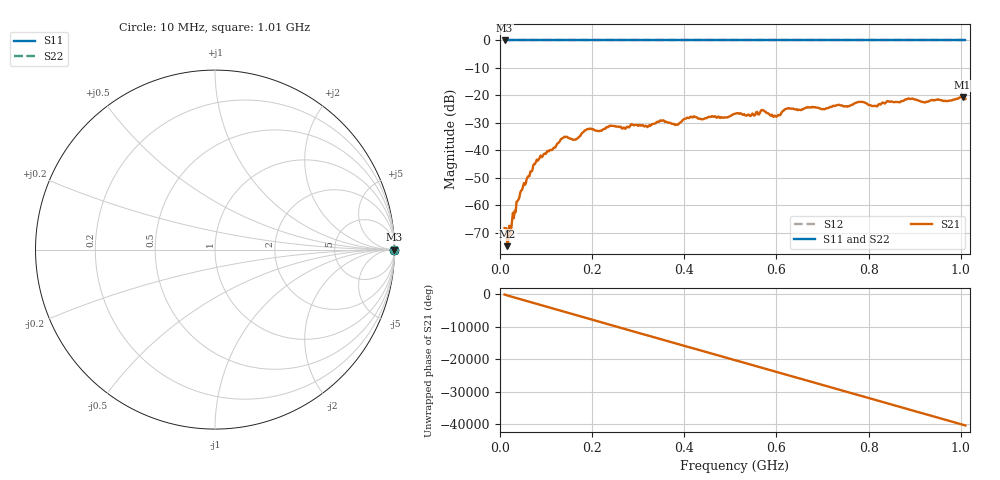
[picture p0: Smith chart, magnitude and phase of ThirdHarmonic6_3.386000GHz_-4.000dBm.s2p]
! 8/17/2025 10:46:35 AM
! C:\ANRITSUVNA\TEMP\TEMP.S2P
! CHANNEL.1
! TR.MEASUREMENT
! RAW.DATA
! RF.CORRECTION.OFF
! AVERAGING.OFF
! IF.BANDWIDTH: 5KHZ
! SWEEPTYPE:  FREQ.SWEEP(Linear)
! Reference Plane Port Info
! PORT:  PORT1  PORT2
! DISTANCE:  0  m  0  m
! TIME:  0  s  0  s
! PHASE.OFFSET:  0  deg.  0  deg.
! LOSS:  0  dB  0  dB
! REF.LOSS:  0  dB  0  dB
! REF.FREQ:  0  Hz  0  Hz
! Power Info
! POWER:  -20  dBm  -20  dBm
! EFF.POWER:  -20  dBm  -20  dBm
! SOURCE.ATTEN:  0  dB  0  dB
! TEST.ATTEN:  0  dB  0  dB
# GHZ S RI R 50.0
! FREQ.GHZ  S11RE  S11IM  S21RE  S21IM  S12RE  S12IM  S22RE  S22IM
!; PortSelection: Port_12
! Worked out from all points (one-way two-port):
!   501 points, 10 MHz to 1.01 GHz, reference 50 ohm
!   highest |S21| = -20.70 dB at 1.004 GHz (marker M1); lowest = -75.0 dB at 16 MHz (marker M2)
!   lowest |S11| = 0.0 dB at 10 MHz (marker M3)
!   |S11| at or under -10 dB: nowhere
!   |S22| runs from 0.0 to 0.0 dB; largest |S21 - S12| = 1.1
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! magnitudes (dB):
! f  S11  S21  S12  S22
! 10 MHz  0.0  -68.4  0.0  0.0
! 16 MHz  0.0  -75.0  0.0  0.0
! 20 MHz  0.0  -67.5  0.0  0.0
! 32 MHz  0.0  -62.1  0.0  0.0
! 48 MHz  0.0  -54.4  0.0  0.0
! 76 MHz  0.0  -45.0  0.0  0.0
! 136 MHz  0.0  -35.6  0.0  0.0
! 162 MHz  0.0  -36.1  0.0  0.0
! 178 MHz  0.0  -33.8  0.0  0.0
! 192 MHz  0.0  -32.3  0.0  0.0
! 318 MHz  0.0  -31.3  0.0  0.0
! 344 MHz  0.0  -29.7  0.0  0.0
! 384 MHz  0.0  -30.7  0.0  0.0
! 416 MHz  0.0  -27.9  0.0  0.0
! 510 MHz  0.0  -26.7  0.0  0.0
! 570 MHz  0.0  -25.4  0.0  0.0
! 598 MHz  0.0  -27.5  0.0  0.0
! 622 MHz  0.0  -24.9  0.0  0.0
! 678 MHz  0.0  -24.2  0.0  0.0
! 844 MHz  0.0  -22.3  0.0  0.0
! 1.004 GHz  0.0  -20.7  0.0  0.0
! 1.01 GHz  0.0  -21.3  0.0  0.0
